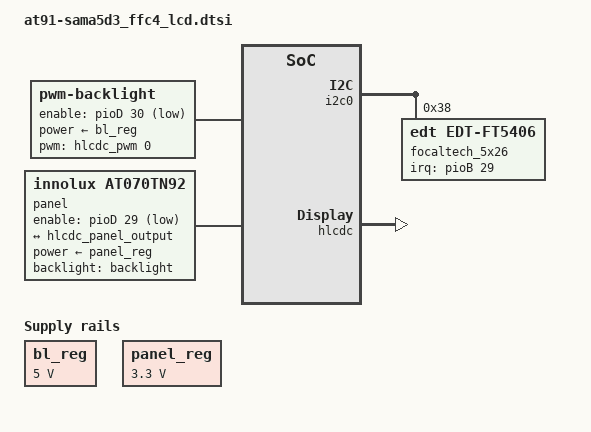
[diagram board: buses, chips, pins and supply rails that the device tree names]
/*
 * Device Tree Include file for FFC4 display module on SAMA5D3 FFC4 board
 *
 *  Copyright (C) 2014 Atmel,
 *                2019 Landis+Gyr
 *
 * Licensed under GPLv2.
 */
 
/ {
	ahb {
		apb {
			i2c0: i2c@f0014000 {
				focaltech_5x26@38 {
					compatible = "edt,edt-ft5406", "edt,edt-ft5x06";
					reg = <0x38>;
					pinctrl-names = "default";
					pinctrl-0 = <&pinctrl_lcd_ctp_int>;
					interrupt-parent = <&pioB>;
					interrupts = <29 IRQ_TYPE_EDGE_FALLING>;
			
					touchscreen-size-x = <480>;
					touchscreen-size-y = <800>;
					
					touchscreen-inverted-y;
					touchscreen-swapped-x-y;
					
					status = "okay";
				};
			};

			hlcdc: hlcdc@f0030000 {
				status = "okay";

				hlcdc-display-controller {
					pinctrl-names = "default";
					pinctrl-0 = <&pinctrl_lcd_base &pinctrl_lcd_rgb888>;
					
					port@0 {
						hlcdc_panel_output: endpoint@0 {
							reg = <0>;
							remote-endpoint = <&panel_input>;
						};
					};
				};
			};

			pinctrl@fffff200 {
				board {
					pinctrl_lcd_ctp_int: lcd_ctp_int {
						 atmel,pins =
							 <AT91_PIOB 29 AT91_PERIPH_GPIO AT91_PINCTRL_PULL_UP_DEGLITCH>;
					};
				};
			};
		};
	};

	backlight: backlight {
		compatible = "pwm-backlight";
		pwms = <&hlcdc_pwm 0 50000 0>;
		brightness-levels = <0 4 8 16 32 64 128 255>;
		default-brightness-level = <7>;
		power-supply = <&bl_reg>;
		status = "okay";
		enable-gpios = <&pioD 30 GPIO_ACTIVE_LOW>;
	};

	bl_reg: backlight_regulator {
		compatible = "regulator-fixed";
		regulator-name = "backlight-power-supply";
		regulator-min-microvolt = <5000000>;
		regulator-max-microvolt = <5000000>;
		status = "okay";
	};

	panel: panel {
		compatible = "innolux,at070tn92", "simple-panel";
		backlight = <&backlight>;
		power-supply = <&panel_reg>;
		#address-cells = <1>;
		#size-cells = <0>;
		status = "okay";
		enable-gpios = <&pioD 29 GPIO_ACTIVE_LOW>;

		port@0 {
			reg = <0>;
			#address-cells = <1>;
			#size-cells = <0>;

			panel_input: endpoint@0 {
				reg = <0>;
				remote-endpoint = <&hlcdc_panel_output>;
			};
		};
	};

	panel_reg: panel_regulator {
		compatible = "regulator-fixed";
		regulator-name = "panel-power-supply";
		regulator-min-microvolt = <3300000>;
		regulator-max-microvolt = <3300000>;
		status = "okay";
	};
};
